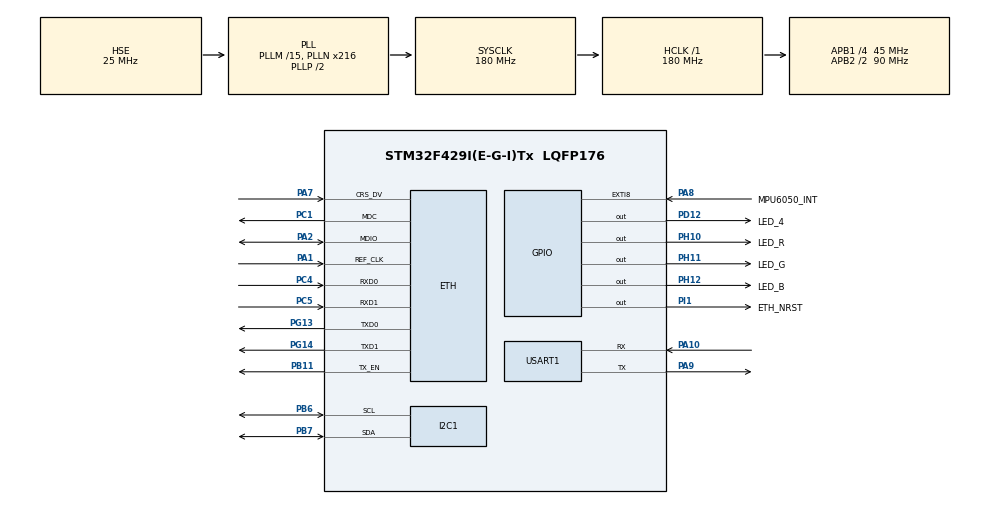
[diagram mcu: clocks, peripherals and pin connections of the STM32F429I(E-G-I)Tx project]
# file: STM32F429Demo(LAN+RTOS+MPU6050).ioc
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ETH.MACAddr=02\:80\:E1\:00\:00\:00
ETH.MediaInterface=ETH_MEDIA_INTERFACE_RMII
ETH.PHY_DUPLEX_STATUS=0x0010
ETH.PHY_Name_RMII=userPHY
ETH.PHY_READ_TO=0x0004FFFF
ETH.PHY_SPEED_STATUS=0x0004
ETH.PHY_SR=31
ETH.PHY_User_Name=LAN8720A
ETH.PHY_WRITE_TO=0x0004FFFF
ETH.PhyAddress=0x0
FREERTOS.Tasks01=defaultTask,0,128,StartDefaultTask,Default,NULL
LWIP.GATEWAY_ADDRESS=192.168.001.001
LWIP.IP_ADDRESS=192.168.001.003
LWIP.LWIP_DHCP=0
LWIP.LWIP_NETIF_LINK_CALLBACK=1
LWIP.MEMP_NUM_TCP_PCB=10
LWIP.MEMP_NUM_UDP_PCB=12
LWIP.NETMASK_ADDRESS=255.255.255.000
LWIP.Version=v1.5.0_RC0_20160211_Cube
Mcu.Family=STM32F4
Mcu.Name=STM32F429I(E-G-I)Tx
Mcu.Package=LQFP176
Mcu.UserConstants=LAN8742A_RESET_DELAY,0x00000005
NVIC.ETH_IRQn=true\:5\:0\:false\:false\:true\:true
NVIC.PriorityGroup=NVIC_PRIORITYGROUP_4
NVIC.TIM1_UP_TIM10_IRQn=true\:5\:0\:false\:false\:true\:true
NVIC.TIM3_IRQn=true\:5\:0\:false\:false\:true\:true
NVIC.TimeBase=TIM1_UP_TIM10_IRQn
NVIC.TimeBaseIP=TIM1
PA1.Mode=RMII
PA1.Signal=ETH_REF_CLK
PA10.Mode=Asynchronous
PA10.Signal=USART1_RX
PA13.Mode=JTAG_5_pins
PA13.Signal=SYS_JTMS-SWDIO
PA14.Mode=JTAG_5_pins
PA14.Signal=SYS_JTCK-SWCLK
PA15.Mode=JTAG_5_pins
PA15.Signal=SYS_JTDI
PA2.Mode=RMII
PA2.Signal=ETH_MDIO
PA7.Mode=RMII
PA7.Signal=ETH_CRS_DV
PA8.GPIO_Label=MPU6050_INT
PA8.Signal=GPXTI8
PA9.Mode=Asynchronous
PA9.Signal=USART1_TX
PB11.Mode=RMII
PB11.Signal=ETH_TX_EN
PB12.Signal=USB_OTG_HS_ID
PB14.Signal=USB_OTG_HS_DM
PB15.Signal=USB_OTG_HS_DP
PB3.Mode=JTAG_5_pins
PB3.Signal=SYS_JTDO-SWO
PB4.Mode=JTAG_5_pins
PB4.Signal=SYS_JTRST
PB6.Mode=I2C
PB6.Signal=I2C1_SCL
PB7.Mode=I2C
PB7.Signal=I2C1_SDA
PC1.Mode=RMII
PC1.Signal=ETH_MDC
PC14/OSC32_IN.Mode=LSE-External-Oscillator
PC14/OSC32_IN.Signal=RCC_OSC32_IN
PC15/OSC32_OUT.Mode=LSE-External-Oscillator
PC15/OSC32_OUT.Signal=RCC_OSC32_OUT
PC4.Mode=RMII
PC4.Signal=ETH_RXD0
PC5.Mode=RMII
PC5.Signal=ETH_RXD1
PD12.GPIO_Label=LED_4
PD12.GPIO_PuPd=GPIO_PULLUP
PD12.GPIO_Speed=GPIO_SPEED_FREQ_HIGH
PD12.PinState=GPIO_PIN_SET
PD12.Signal=GPIO_Output
PG13.Mode=RMII
PG13.Signal=ETH_TXD0
PG14.Mode=RMII
PG14.Signal=ETH_TXD1
PH0/OSC_IN.Mode=HSE-External-Oscillator
PH0/OSC_IN.Signal=RCC_OSC_IN
PH1/OSC_OUT.Mode=HSE-External-Oscillator
PH1/OSC_OUT.Signal=RCC_OSC_OUT
PH10.GPIO_Label=LED_R
PH10.GPIO_PuPd=GPIO_PULLUP
PH10.GPIO_Speed=GPIO_SPEED_FREQ_HIGH
PH10.PinState=GPIO_PIN_SET
PH10.Signal=GPIO_Output
PH11.GPIO_Label=LED_G
PH11.GPIO_ModeDefaultOutputPP=GPIO_MODE_OUTPUT_PP
PH11.GPIO_PuPd=GPIO_PULLUP
PH11.GPIO_Speed=GPIO_SPEED_FREQ_HIGH
PH11.PinState=GPIO_PIN_SET
PH11.Signal=GPIO_Output
PH12.GPIO_Label=LED_B
PH12.GPIO_PuPd=GPIO_PULLUP
PH12.GPIO_Speed=GPIO_SPEED_FREQ_HIGH
PH12.PinState=GPIO_PIN_SET
PH12.Signal=GPIO_Output
PI1.GPIO_Label=ETH_NRST
PI1.GPIO_PuPd=GPIO_PULLUP
PI1.GPIO_Speed=GPIO_SPEED_FREQ_MEDIUM
PI1.PinState=GPIO_PIN_RESET
PI1.Signal=GPIO_Output
ProjectManager.HeapSize=0x200
ProjectManager.StackSize=0x400
ProjectManager.TargetToolchain=MDK-ARM V5
RCC.48MHZClocksFreq_Value=90000000
RCC.AHBFreq_Value=180000000
RCC.APB1CLKDivider=RCC_HCLK_DIV4
RCC.APB1Freq_Value=45000000
RCC.APB1TimFreq_Value=90000000
RCC.APB2CLKDivider=RCC_HCLK_DIV2
RCC.APB2Freq_Value=90000000
RCC.APB2TimFreq_Value=180000000
RCC.CortexFreq_Value=180000000
RCC.HCLKFreq_Value=180000000
RCC.HSE_VALUE=25000000
RCC.HSI_VALUE=16000000
RCC.PLLM=15
RCC.PLLN=216
RCC.PLLSourceVirtual=RCC_PLLSOURCE_HSE
RCC.RCC_RTC_Clock_Source=RCC_RTCCLKSOURCE_LSE
RCC.RCC_RTC_Clock_SourceVirtual=RCC_RTCCLKSOURCE_LSE
RCC.SYSCLKFreq_VALUE=180000000
RCC.SYSCLKSource=RCC_SYSCLKSOURCE_PLLCLK
RCC.VCOOutputFreq_Value=360000000
TIM3.Period=999
TIM3.Prescaler=899
TIM3.TIM_MasterOutputTrigger=TIM_TRGO_RESET
VP_FREERTOS_VS_ENABLE.Mode=Enabled
VP_LWIP_VS_Enabled.Mode=Enabled
VP_RTC_VS_RTC_Activate.Mode=RTC_Enabled
VP_RTC_VS_RTC_Calendar.Mode=RTC_Calendar
VP_SYS_VS_tim1.Mode=TIM1
VP_TIM3_VS_ClockSourceINT.Mode=Internal
board=STM32F429Demo(LAN+RTOS+MPU6050)

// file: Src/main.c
/**
  ******************************************************************************
  * File Name          : main.c
  * Description        : Main program body
  ******************************************************************************
  *
  * Copyright (c) 2017 STMicroelectronics International N.V.
  * All rights reserved.
  *
  * Redistribution and use in source and binary forms, with or without
  * modification, are permitted, provided that the following conditions are met:
  *
  * 1. Redistribution of source code must retain the above copyright notice,
  *    this list of conditions and the following disclaimer.
  * 2. Redistributions in binary form must reproduce the above copyright notice,
  *    this list of conditions and the following disclaimer in the documentation
  *    and/or other materials provided with the distribution.
  * 3. Neither the name of STMicroelectronics nor the names of other
  *    contributors to this software may be used to endorse or promote products
  *    derived from this software without specific written permission.
  * 4. This software, including modifications and/or derivative works of this
  *    software, must execute solely and exclusively on microcontroller or
  *    microprocessor devices manufactured by or for STMicroelectronics.
  * 5. Redistribution and use of this software other than as permitted under
  *    this license is void and will automatically terminate your rights under
  *    this license.
  *
  * THIS SOFTWARE IS PROVIDED BY STMICROELECTRONICS AND CONTRIBUTORS "AS IS"
  * AND ANY EXPRESS, IMPLIED OR STATUTORY WARRANTIES, INCLUDING, BUT NOT
  * LIMITED TO, THE IMPLIED WARRANTIES OF MERCHANTABILITY, FITNESS FOR A
  * PARTICULAR PURPOSE AND NON-INFRINGEMENT OF THIRD PARTY INTELLECTUAL PROPERTY
  * RIGHTS ARE DISCLAIMED TO THE FULLEST EXTENT PERMITTED BY LAW. IN NO EVENT
  * SHALL STMICROELECTRONICS OR CONTRIBUTORS BE LIABLE FOR ANY DIRECT, INDIRECT,
  * INCIDENTAL, SPECIAL, EXEMPLARY, OR CONSEQUENTIAL DAMAGES (INCLUDING, BUT NOT
  * LIMITED TO, PROCUREMENT OF SUBSTITUTE GOODS OR SERVICES; LOSS OF USE, DATA,
  * OR PROFITS; OR BUSINESS INTERRUPTION) HOWEVER CAUSED AND ON ANY THEORY OF
  * LIABILITY, WHETHER IN CONTRACT, STRICT LIABILITY, OR TORT (INCLUDING
  * NEGLIGENCE OR OTHERWISE) ARISING IN ANY WAY OUT OF THE USE OF THIS SOFTWARE,
  * EVEN IF ADVISED OF THE POSSIBILITY OF SUCH DAMAGE.
  *
  ******************************************************************************
  */
#include "main.h"
#include "stm32f4xx_hal.h"
#include "cmsis_os.h"
#include "i2c.h"
#include "lwip.h"
#include "rtc.h"
#include "tim.h"
#include "usart.h"
#include "gpio.h"
#include "sockets.h"
#include "led.h"

/* USER CODE BEGIN PV */
/* Private variables ---------------------------------------------------------*/
__IO uint32_t LocalTime = 0; /* this variable is used to create a time reference incremented by 10ms */
osThreadId  TcpClientHandle =0;
osThreadId  NetTimerHandle =0;
osSemaphoreId s_NetTimerSemaphore = NULL;
/* USER CODE END PV */

void SystemClock_Config(void);
void Error_Handler(void);
void MX_FREERTOS_Init(void);

/* USER CODE BEGIN PFP */
/* Private function prototypes -----------------------------------------------*/

/* USER CODE END PFP */

/* USER CODE BEGIN 0 */
void tcp_client_thread(void const * argument)
{
	int optval = 1;
	int sock, newconn, size;
	int i32Retry = 3;
  struct sockaddr_in  remotehost;
	char  buf[128]="This is a tcp client connection.\r\n";
	LWIP_UNUSED_ARG(argument);

	printf("tcp client work.\r\n");

 /* create a TCP socket */
  while ((sock = socket(PF_INET, SOCK_STREAM, IP_PROTO_TCP)) < 0 && i32Retry>0)
  {
		i32Retry--;
    printf("can not create socket,errno=%d(%s), retry number = %d\r\n",errno,strerror(errno),i32Retry);

  }
	if(i32Retry<=0) 	vTaskDelete( TcpClientHandle );
  else 						i32Retry=3;

	lwip_setsockopt(sock,SOL_SOCKET,SO_KEEPALIVE,&optval,sizeof(optval));
  /* bind to port 80 at any interface */
	remotehost.sin_len = sizeof(remotehost);
  remotehost.sin_family = AF_INET;
  remotehost.sin_port = htons(6800);
  remotehost.sin_addr.s_addr = inet_addr("192.168.1.102");

  while (connect(sock, (struct sockaddr *)&remotehost, sizeof (remotehost)) < 0 && i32Retry>0)
  {
    printf("can not connect to server,errno=%d(%s),retry number = %d\r\n",errno,strerror(errno),i32Retry);
		i32Retry--;
  }
	if(i32Retry<=0){
		close(sock);
		vTaskDelete( TcpClientHandle );
	}
  else 	i32Retry=3;

  LED_4_ON;

  size = strlen(buf);

  while (1)
  {
		printf("LocalTime = %u, xTickCount = %u, uwTick = %u\r\n", LocalTime,xTaskGetTickCount(), HAL_GetTick());
    if(size != send(sock, buf, (size_t)strlen(buf),0))
		{
			LED_RED;
			printf("errno=%d (%s)\r\n",errno,strerror(errno));
		}
		else
		{
			LED_GREEN;
			printf("Data sent!\r\n");
		}
		vTaskDelay(1000);
  }

}

void Net_TimerHandler(void const * argument)
{
	LWIP_UNUSED_ARG(argument);

	for(;;)
	{
		if (osSemaphoreWait( s_NetTimerSemaphore, 100)==osOK)
    {
      LwIP_Periodic_Handle(LocalTime);
    }

	}

}

/* USER CODE END 0 */

int main(void)
{

  /* MCU Configuration----------------------------------------------------------*/

  /* Reset of all peripherals, Initializes the Flash interface and the Systick. */
  HAL_Init();

  /* Configure the system clock */
  SystemClock_Config();

  /* Initialize all configured peripherals */
  MX_GPIO_Init();
  MX_RTC_Init();
  MX_USART1_UART_Init();
  MX_I2C1_Init();
  MX_TIM3_Init();

  /* USER CODE BEGIN 2 */
	MX_LWIP_Init();
  /* USER CODE END 2 */

  /* Call init function for freertos objects (in freertos.c) */
  //MX_FREERTOS_Init();

	/* USER CODE BEGIN 3 */
	osSemaphoreDef(NetTimerSEM);
  s_NetTimerSemaphore = osSemaphoreCreate(osSemaphore(NetTimerSEM) , 1 );

//	osThreadDef(net_timer_thread, Net_TimerHandler, osPriorityAboveNormal, 0, configMINIMAL_STACK_SIZE*2);
//  NetTimerHandle = osThreadCreate(osThread(net_timer_thread), NULL);
	vTaskDelay(3000);
	osThreadDef(client_thread, tcp_client_thread, osPriorityAboveNormal, 0, configMINIMAL_STACK_SIZE*2);
  TcpClientHandle = osThreadCreate(osThread(client_thread), NULL);

	printf("Schedular Start!\r\n");

	/* USER CODE END 3 */
  /* Start scheduler */
  osKernelStart();

  /* We should never get here as control is now taken by the scheduler */

  /* Infinite loop */
  while (1)
  {

  }

}

/** System Clock Configuration
*/
void SystemClock_Config(void)
{

  RCC_OscInitTypeDef RCC_OscInitStruct;
  RCC_ClkInitTypeDef RCC_ClkInitStruct;
  RCC_PeriphCLKInitTypeDef PeriphClkInitStruct;

    /**Configure the main internal regulator output voltage
    */
  __HAL_RCC_PWR_CLK_ENABLE();

  __HAL_PWR_VOLTAGESCALING_CONFIG(PWR_REGULATOR_VOLTAGE_SCALE1);

    /**Initializes the CPU, AHB and APB busses clocks
    */
  RCC_OscInitStruct.OscillatorType = RCC_OSCILLATORTYPE_HSE|RCC_OSCILLATORTYPE_LSE;
  RCC_OscInitStruct.HSEState = RCC_HSE_ON;
  RCC_OscInitStruct.LSEState = RCC_LSE_ON;
  RCC_OscInitStruct.PLL.PLLState = RCC_PLL_ON;
  RCC_OscInitStruct.PLL.PLLSource = RCC_PLLSOURCE_HSE;
  RCC_OscInitStruct.PLL.PLLM = 15;
  RCC_OscInitStruct.PLL.PLLN = 216;
  RCC_OscInitStruct.PLL.PLLP = RCC_PLLP_DIV2;
  RCC_OscInitStruct.PLL.PLLQ = 4;
  if (HAL_RCC_OscConfig(&RCC_OscInitStruct) != HAL_OK)
  {
    Error_Handler();
  }

    /**Activate the Over-Drive mode
    */
  if (HAL_PWREx_EnableOverDrive() != HAL_OK)
  {
    Error_Handler();
  }

    /**Initializes the CPU, AHB and APB busses clocks
    */
  RCC_ClkInitStruct.ClockType = RCC_CLOCKTYPE_HCLK|RCC_CLOCKTYPE_SYSCLK
                              |RCC_CLOCKTYPE_PCLK1|RCC_CLOCKTYPE_PCLK2;
  RCC_ClkInitStruct.SYSCLKSource = RCC_SYSCLKSOURCE_PLLCLK;
  RCC_ClkInitStruct.AHBCLKDivider = RCC_SYSCLK_DIV1;
  RCC_ClkInitStruct.APB1CLKDivider = RCC_HCLK_DIV4;
  RCC_ClkInitStruct.APB2CLKDivider = RCC_HCLK_DIV2;

  if (HAL_RCC_ClockConfig(&RCC_ClkInitStruct, FLASH_LATENCY_5) != HAL_OK)
  {
    Error_Handler();
  }

  PeriphClkInitStruct.PeriphClockSelection = RCC_PERIPHCLK_RTC;
  PeriphClkInitStruct.RTCClockSelection = RCC_RTCCLKSOURCE_LSE;
  if (HAL_RCCEx_PeriphCLKConfig(&PeriphClkInitStruct) != HAL_OK)
  {
    Error_Handler();
  }

    /**Configure the Systick interrupt time
    */
  HAL_SYSTICK_Config(HAL_RCC_GetHCLKFreq()/1000);

    /**Configure the Systick
    */
  HAL_SYSTICK_CLKSourceConfig(SYSTICK_CLKSOURCE_HCLK);

  /* SysTick_IRQn interrupt configuration */
  HAL_NVIC_SetPriority(SysTick_IRQn, 15, 0);
}

void HAL_TIM_PeriodElapsedCallback(TIM_HandleTypeDef *htim)
{
  if (htim->Instance == TIM1) {
    HAL_IncTick();
  }
/* USER CODE BEGIN Callback 1 */
	if(htim->Instance == TIM3)
	{
		LocalTime += 10;
//		if(LocalTime%50==0)
//		{
//			LwIP_Periodic_Handle(LocalTime);
//		}
	}
/* USER CODE END Callback 1 */
}

void Error_Handler(void)
{
  while(1)
  {
  }
}

/************************ (C) COPYRIGHT STMicroelectronics *****END OF FILE****/

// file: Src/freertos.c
/**
  ******************************************************************************
  * File Name          : freertos.c
  * Description        : Code for freertos applications
  ******************************************************************************
  *
  * Copyright (c) 2017 STMicroelectronics International N.V.
  * All rights reserved.
  *
  * Redistribution and use in source and binary forms, with or without
  * modification, are permitted, provided that the following conditions are met:
  *
  * 1. Redistribution of source code must retain the above copyright notice,
  *    this list of conditions and the following disclaimer.
  * 2. Redistributions in binary form must reproduce the above copyright notice,
  *    this list of conditions and the following disclaimer in the documentation
  *    and/or other materials provided with the distribution.
  * 3. Neither the name of STMicroelectronics nor the names of other
  *    contributors to this software may be used to endorse or promote products
  *    derived from this software without specific written permission.
  * 4. This software, including modifications and/or derivative works of this
  *    software, must execute solely and exclusively on microcontroller or
  *    microprocessor devices manufactured by or for STMicroelectronics.
  * 5. Redistribution and use of this software other than as permitted under
  *    this license is void and will automatically terminate your rights under
  *    this license.
  *
  * THIS SOFTWARE IS PROVIDED BY STMICROELECTRONICS AND CONTRIBUTORS "AS IS"
  * AND ANY EXPRESS, IMPLIED OR STATUTORY WARRANTIES, INCLUDING, BUT NOT
  * LIMITED TO, THE IMPLIED WARRANTIES OF MERCHANTABILITY, FITNESS FOR A
  * PARTICULAR PURPOSE AND NON-INFRINGEMENT OF THIRD PARTY INTELLECTUAL PROPERTY
  * RIGHTS ARE DISCLAIMED TO THE FULLEST EXTENT PERMITTED BY LAW. IN NO EVENT
  * SHALL STMICROELECTRONICS OR CONTRIBUTORS BE LIABLE FOR ANY DIRECT, INDIRECT,
  * INCIDENTAL, SPECIAL, EXEMPLARY, OR CONSEQUENTIAL DAMAGES (INCLUDING, BUT NOT
  * LIMITED TO, PROCUREMENT OF SUBSTITUTE GOODS OR SERVICES; LOSS OF USE, DATA,
  * OR PROFITS; OR BUSINESS INTERRUPTION) HOWEVER CAUSED AND ON ANY THEORY OF
  * LIABILITY, WHETHER IN CONTRACT, STRICT LIABILITY, OR TORT (INCLUDING
  * NEGLIGENCE OR OTHERWISE) ARISING IN ANY WAY OUT OF THE USE OF THIS SOFTWARE,
  * EVEN IF ADVISED OF THE POSSIBILITY OF SUCH DAMAGE.
  *
  ******************************************************************************
  */

#include "FreeRTOS.h"
#include "task.h"
#include "cmsis_os.h"

osThreadId defaultTaskHandle;

void StartDefaultTask(void const * argument);

extern void MX_LWIP_Init(void);
void MX_FREERTOS_Init(void); /* (MISRA C 2004 rule 8.1) */

/* Hook prototypes */

/* Init FreeRTOS */

void MX_FREERTOS_Init(void) {

  /* Create the thread(s) */
  /* definition and creation of defaultTask */
  osThreadDef(defaultTask, StartDefaultTask, osPriorityNormal, 0, 128);
  defaultTaskHandle = osThreadCreate(osThread(defaultTask), NULL);

}

/* StartDefaultTask function */
void StartDefaultTask(void const * argument)
{
  /* init code for LWIP */

  /* USER CODE BEGIN StartDefaultTask */
  /* Infinite loop */
  for(;;)
  {
    osDelay(100);
  }
  /* USER CODE END StartDefaultTask */
}

/************************ (C) COPYRIGHT STMicroelectronics *****END OF FILE****/
